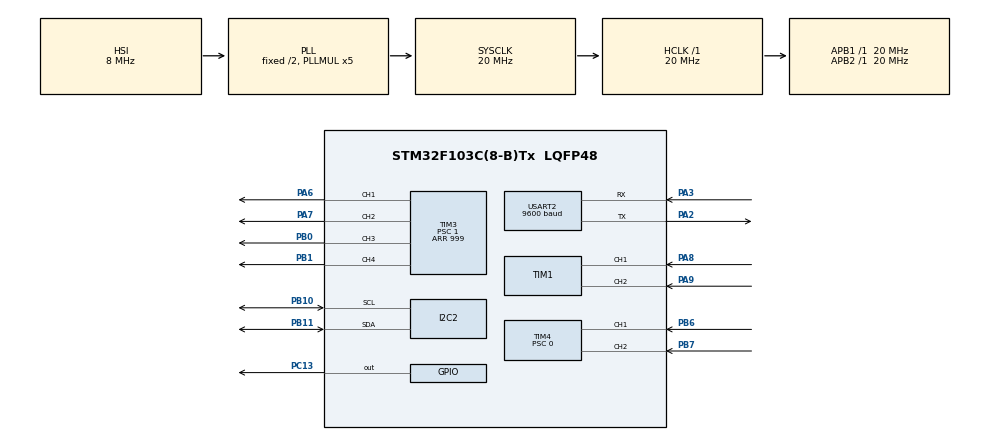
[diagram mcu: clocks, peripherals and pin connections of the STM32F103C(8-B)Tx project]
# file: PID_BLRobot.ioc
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Mcu.Family=STM32F1
Mcu.Name=STM32F103C(8-B)Tx
Mcu.Package=LQFP48
NVIC.PriorityGroup=NVIC_PRIORITYGROUP_4
PA13.Mode=Trace_Asynchronous_SW
PA13.Signal=SYS_JTMS-SWDIO
PA14.Mode=Trace_Asynchronous_SW
PA14.Signal=SYS_JTCK-SWCLK
PA2.Mode=Asynchronous
PA2.Signal=USART2_TX
PA3.Mode=Asynchronous
PA3.Signal=USART2_RX
PA6.Signal=S_TIM3_CH1
PA7.Signal=S_TIM3_CH2
PA8.Signal=S_TIM1_CH1
PA9.Signal=S_TIM1_CH2
PB0.Signal=S_TIM3_CH3
PB1.Signal=S_TIM3_CH4
PB10.Mode=I2C
PB10.Signal=I2C2_SCL
PB11.Mode=I2C
PB11.Signal=I2C2_SDA
PB3.Mode=Trace_Asynchronous_SW
PB3.Signal=SYS_JTDO-TRACESWO
PB6.Signal=S_TIM4_CH1
PB7.Signal=S_TIM4_CH2
PC13-TAMPER-RTC.Signal=GPIO_Output
PD0-OSC_IN.Mode=HSE-External-Oscillator
PD0-OSC_IN.Signal=RCC_OSC_IN
PD1-OSC_OUT.Mode=HSE-External-Oscillator
PD1-OSC_OUT.Signal=RCC_OSC_OUT
ProjectManager.HeapSize=0x200
ProjectManager.StackSize=0x400
ProjectManager.TargetToolchain=STM32CubeIDE
RCC.AHBFreq_Value=20000000
RCC.APB1Freq_Value=20000000
RCC.APB1TimFreq_Value=20000000
RCC.APB2Freq_Value=20000000
RCC.APB2TimFreq_Value=20000000
RCC.HCLKFreq_Value=20000000
RCC.PLLMUL=RCC_PLL_MUL5
RCC.SYSCLKFreq_VALUE=20000000
RCC.SYSCLKSource=RCC_SYSCLKSOURCE_PLLCLK
RCC.USBFreq_Value=20000000
SH.S_TIM1_CH1.0=TIM1_CH1,Encoder_Interface
SH.S_TIM1_CH2.0=TIM1_CH2,Encoder_Interface
SH.S_TIM3_CH1.0=TIM3_CH1,PWM Generation1 CH1
SH.S_TIM3_CH2.0=TIM3_CH2,PWM Generation2 CH2
SH.S_TIM3_CH3.0=TIM3_CH3,PWM Generation3 CH3
SH.S_TIM3_CH4.0=TIM3_CH4,PWM Generation4 CH4
SH.S_TIM4_CH1.0=TIM4_CH1,Encoder_Interface
SH.S_TIM4_CH2.0=TIM4_CH2,Encoder_Interface
TIM1.EncoderMode=TIM_ENCODERMODE_TI12
TIM3.AutoReloadPreload=TIM_AUTORELOAD_PRELOAD_ENABLE
TIM3.Channel-PWM\ Generation1\ CH1=TIM_CHANNEL_1
TIM3.Channel-PWM\ Generation2\ CH2=TIM_CHANNEL_2
TIM3.Channel-PWM\ Generation3\ CH3=TIM_CHANNEL_3
TIM3.Channel-PWM\ Generation4\ CH4=TIM_CHANNEL_4
TIM3.Period=999
TIM3.Prescaler=1
TIM4.AutoReloadPreload=TIM_AUTORELOAD_PRELOAD_DISABLE
TIM4.EncoderMode=TIM_ENCODERMODE_TI12
TIM4.Period=65534
TIM4.Prescaler=0
USART2.BaudRate=9600
USART2.VirtualMode=VM_ASYNC
VP_TIM3_VS_ClockSourceINT.Mode=Internal
board=custom

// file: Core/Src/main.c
/* USER CODE BEGIN Header */
/**
  ******************************************************************************
  * @file           : main.c
  * @brief          : Main program body
  ******************************************************************************
  * @attention
  *
  * Copyright (c) 2024 STMicroelectronics.
  * All rights reserved.
  *
  * This software is licensed under terms that can be found in the LICENSE file
  * in the root directory of this software component.
  * If no LICENSE file comes with this software, it is provided AS-IS.
  *
  ******************************************************************************
  */
/* USER CODE END Header */
#include "main.h"
#include "i2c.h"
#include "tim.h"
#include "usart.h"
#include "gpio.h"

/* USER CODE BEGIN Includes */
#include "mpu6050.h"
#include <stdio.h>
#include <stdint.h>
#include <string.h>
/* USER CODE END Includes */

/* USER CODE BEGIN PD */
MPU6050_t MPU6050;
volatile int encoder1 = 0;
volatile int encoder2 = 0;
volatile float Ax = 0;
volatile float Ay = 0;
volatile float Az = 0;
volatile float Gx = 0;
volatile float Gy = 0;
volatile float Gz = 0;
volatile float Kalman_X = 0;
volatile float Kalman_Y = 0;
volatile char buffer[30];
char buffer2[6];
float P = 0 , I = 0 , D = 0 ;
float angleError ;
/* USER CODE END PD */

void SystemClock_Config(void);

/* USER CODE BEGIN 0 */

// Control Motor
void Motor_Control(int16_t M2_velocity , int16_t M1_velocity)
{
	//Left Motor
	if(M1_velocity < 0)
	{
		TIM3 -> CCR1 = 0;
		TIM3 -> CCR2 = - M1_velocity;
	}

	else if(M1_velocity > 0)
	{
		TIM3 -> CCR1 = M1_velocity;
		TIM3 -> CCR2 = 0;
	}
	//Right Motor
	if(M2_velocity < 0)
	{
		TIM3 -> CCR3 = 0;
		TIM3 -> CCR4 = - M2_velocity;
	}

	else if(M2_velocity > 0)
	{
		TIM3 -> CCR3 = M2_velocity;
		TIM3 -> CCR4 = 0;
	}

}

void PID_Control(float _Kp , float _Ki , float _Kd , float angle)
{

	float oldAngleError = 0;
	float Total = 0;
	int16_t increased_speed = 0, decreased_speed = 0;

	//Calculate PID
	//-2.01846361
	angleError = -2.0184361 - angle;
	P = _Kp * angleError ;
	D = _Kd * (angleError - oldAngleError);

	oldAngleError = angleError;

	if((- 5 < angleError) && ( angleError < 5))
	{
		I = I + (_Ki * angleError);
	}
	else
	{
		_Ki = 0;
	}

	Total = P + I + D;

	increased_speed =  + ((Total > 0) ? Total : -Total);
	decreased_speed =  - ((Total > 0) ? Total : -Total);

	if(increased_speed < -900)
		increased_speed = -900;
	if(increased_speed > 900)
		increased_speed = 900;
	if(decreased_speed < -900)
		decreased_speed = -900;
	if(decreased_speed > 900)
		decreased_speed = 900;

	//Control Motor
	if ( (0 < angleError) && (angleError < 10)  )
	{

		Motor_Control(decreased_speed, decreased_speed);

	}
	else if ( (-20 < angleError) && (angleError < 0) )
	{

		Motor_Control(increased_speed, increased_speed);

	}
	else
	{
		Motor_Control(0 , 0);

	}

}
/* USER CODE END 0 */

int main(void)
{

  /* MCU Configuration--------------------------------------------------------*/

  /* Reset of all peripherals, Initializes the Flash interface and the Systick. */
  HAL_Init();

  /* Configure the system clock */
  SystemClock_Config();

  /* Initialize all configured peripherals */
  MX_GPIO_Init();
  MX_TIM4_Init();
  MX_TIM1_Init();
  MX_TIM3_Init();
  MX_I2C2_Init();
  MX_USART2_UART_Init();
  /* USER CODE BEGIN 2 */
  HAL_TIM_PWM_Start(&htim3, TIM_CHANNEL_1);
  HAL_TIM_PWM_Start(&htim3, TIM_CHANNEL_2);
  HAL_TIM_PWM_Start(&htim3, TIM_CHANNEL_3);
  HAL_TIM_PWM_Start(&htim3, TIM_CHANNEL_4);
  HAL_TIM_Encoder_Start(&htim1, TIM_CHANNEL_1 | TIM_CHANNEL_2);
  HAL_TIM_Encoder_Start(&htim4, TIM_CHANNEL_1 | TIM_CHANNEL_2);

  while (MPU6050_Init(&hi2c2) == 1);
  /* USER CODE END 2 */

  /* Infinite loop */
  while (1)
  {

    /* USER CODE BEGIN 3 */

	  MPU6050_Read_All(&hi2c2, &MPU6050);

	  Ax = MPU6050.Ax;
	  Ay = MPU6050.Ay;
	  Az = MPU6050.Az;
	  Gx = MPU6050.Gx;
	  Gy = MPU6050.Gy;
	  Gz = MPU6050.Gz;
	  Kalman_X = MPU6050.KalmanAngleX;
	  Kalman_Y = MPU6050.KalmanAngleY;

	  PID_Control(108.4375, 0.00003051757813 , 3 , Kalman_Y);
	  sprintf(&buffer , "%.0f %.3f %.2f %.1f %.1f\n\r" , P , Kalman_Y , D, angleError , HAL_GetTick()/100.0);
	  HAL_UART_Transmit(&huart2, &buffer, strlen(buffer), 35);
  }
  /* USER CODE END 3 */
}

void SystemClock_Config(void)
{
  RCC_OscInitTypeDef RCC_OscInitStruct = {0};
  RCC_ClkInitTypeDef RCC_ClkInitStruct = {0};

  /** Initializes the RCC Oscillators according to the specified parameters
  * in the RCC_OscInitTypeDef structure.
  */
  RCC_OscInitStruct.OscillatorType = RCC_OSCILLATORTYPE_HSI;
  RCC_OscInitStruct.HSIState = RCC_HSI_ON;
  RCC_OscInitStruct.HSICalibrationValue = RCC_HSICALIBRATION_DEFAULT;
  RCC_OscInitStruct.PLL.PLLState = RCC_PLL_ON;
  RCC_OscInitStruct.PLL.PLLSource = RCC_PLLSOURCE_HSI_DIV2;
  RCC_OscInitStruct.PLL.PLLMUL = RCC_PLL_MUL5;
  if (HAL_RCC_OscConfig(&RCC_OscInitStruct) != HAL_OK)
  {
    Error_Handler();
  }

  /** Initializes the CPU, AHB and APB buses clocks
  */
  RCC_ClkInitStruct.ClockType = RCC_CLOCKTYPE_HCLK|RCC_CLOCKTYPE_SYSCLK
                              |RCC_CLOCKTYPE_PCLK1|RCC_CLOCKTYPE_PCLK2;
  RCC_ClkInitStruct.SYSCLKSource = RCC_SYSCLKSOURCE_PLLCLK;
  RCC_ClkInitStruct.AHBCLKDivider = RCC_SYSCLK_DIV1;
  RCC_ClkInitStruct.APB1CLKDivider = RCC_HCLK_DIV1;
  RCC_ClkInitStruct.APB2CLKDivider = RCC_HCLK_DIV1;

  if (HAL_RCC_ClockConfig(&RCC_ClkInitStruct, FLASH_LATENCY_0) != HAL_OK)
  {
    Error_Handler();
  }
}

void Error_Handler(void)
{
  __disable_irq();
  while (1)
  {
  }
}
